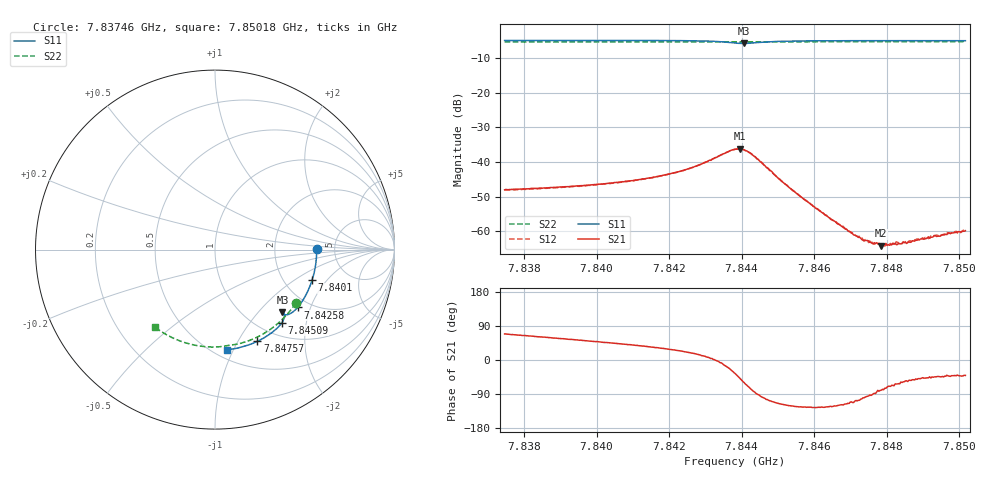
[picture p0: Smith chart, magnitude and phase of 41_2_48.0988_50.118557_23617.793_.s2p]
#  HZ  S  RI  R  50.00
! Rohde & Schwarz Vector Network Analyzer
! Rohde-Schwarz,ZNB20-2Port,1311601062101988,3.16
! Created: UTC 12/23/2023, 3:38:43 AM
! freq[Hz]  re:S11  im:S11  re:S21  im:S21  re:S12  im:S12  re:S22  im:S22
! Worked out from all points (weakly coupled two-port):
!   401 points, 7.83746 GHz to 7.85018 GHz, reference 50 ohm
!   highest |S21| = -36.18 dB at 7.84395 GHz (marker M1); lowest = -64.1 dB at 7.84786 GHz (marker M2)
!   lowest |S11| = -5.8 dB at 7.84407 GHz (marker M3), VSWR 3.11, Z = 71.8 - j68.3 ohm
!   |S11| at or under -10 dB: nowhere
!   |S22| runs from -5.4 to -5.3 dB; largest |S21 - S12| = 0.00027
!   S11 on the Smith chart (normalised r, x): 7.83746 GHz: 3.61, +0.04; 7.8401 GHz: 2.83, -1.42; 7.84258 GHz: 1.73, -1.63; 7.84509 GHz: 1.25, -1.46; 7.84757 GHz: 0.81, -1.21; 7.85018 GHz: 0.58, -0.95
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7.837464e9  0.5665 0.00419  0.00143 0.0037  0.00148 0.00364  0.4501 -0.2982
7.839593e9  0.5503 -0.1368  0.00282 0.0036  0.00277 0.00355  0.3522 -0.4101
7.840102e9  0.541 -0.1698  0.00325 0.00355  0.00324 0.00354  0.3245 -0.4326
7.840992e9  0.5194 -0.2262  0.00416 0.00343  0.00413 0.00345  0.2726 -0.4676
7.841723e9  0.4962 -0.2715  0.00532 0.00332  0.0053 0.0033  0.2272 -0.4914
7.842581e9  0.46 -0.3226  0.00769 0.00268  0.00765 0.0027  0.1711 -0.5136
7.843343e9  0.4123 -0.36  0.012 -0.000602  0.012 -0.000657  0.119 -0.5275
7.84382e9  0.3776 -0.3587  0.0124 -0.00887  0.0124 -0.00885  0.0871 -0.532
7.843947e9  0.3743 -0.354  0.0105 -0.0115  0.0104 -0.0113  0.079 -0.533
7.844074e9  0.3754 -0.3504  0.00755 -0.013  0.00761 -0.013  0.0712 -0.5344
7.844392e9  0.3856 -0.358  0.000473 -0.0117  0.000687 -0.0116  0.0506 -0.538
7.845091e9  0.3731 -0.4063  -0.00237 -0.0048  -0.00241 -0.00488  0.00162 -0.5427
7.84595e9  0.3303 -0.4519  -0.00138 -0.00195  -0.00139 -0.00196  -0.0588 -0.5405
7.84649e9  0.3 -0.4746  -0.000812 -0.00124  -0.000777 -0.00125  -0.0965 -0.5356
7.847157e9  0.2609 -0.4983  -0.000249 -0.000832  -0.000289 -0.000821  -0.1425 -0.5255
7.847348e9  0.2495 -0.5044  -0.000129 -0.000737  -0.000144 -0.000755  -0.1553 -0.522
7.84757e9  0.2359 -0.5111  -4.22e-05 -0.000694  -2.33e-05 -0.000655  -0.1704 -0.5176
7.847856e9  0.2184 -0.5189  0.000111 -0.000613  9.2e-05 -0.000624  -0.1894 -0.5111
7.848079e9  0.2045 -0.5246  0.000224 -0.000589  0.000206 -0.000616  -0.204 -0.5055
7.848619e9  0.1703 -0.5366  0.000422 -0.000567  0.000418 -0.000593  -0.2387 -0.4904
7.849287e9  0.1271 -0.5484  0.000587 -0.000597  0.000594 -0.000613  -0.2801 -0.4684
7.850177e9  0.069 -0.5584  0.000777 -0.000669  0.00075 -0.000696  -0.3319 -0.4339
